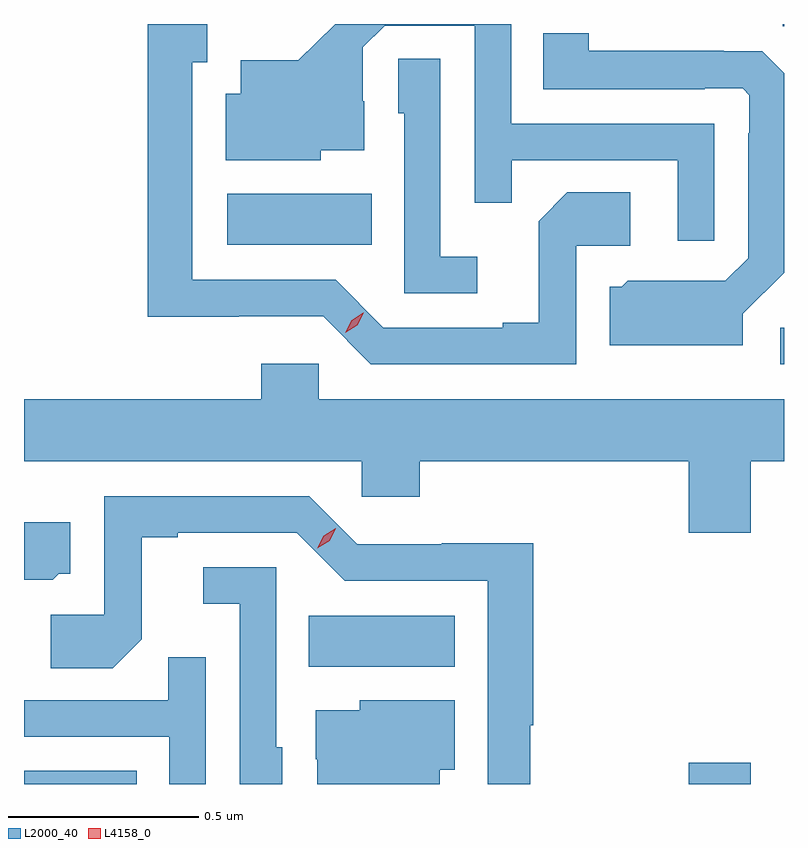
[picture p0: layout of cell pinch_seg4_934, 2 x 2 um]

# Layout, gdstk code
import gdstk
lib = gdstk.Library(unit=1e-6, precision=1e-09)
def R(c, l, rs):  # rectangles x0, y0, x1, y1
    for r in rs: c.add(gdstk.rectangle(r[:2], r[2:], *l))
def P(c, l, *ps):  # polygons
    for p in ps: c.add(gdstk.Polygon(p, *l))
L2000_40 = (2000, 40)
L4158_0 = (4158, 0)

pinch_seg4_934 = lib.new_cell('pinch_seg4_934')
R(pinch_seg4_934, L2000_40, [(690.731,823.943,691.028,823.978), (692.48,823.943,692.644,823.999), (691.48,824.252,691.864,824.386), (692.721,825.048,692.731,825.144), (691.266,825.362,691.646,825.496), (692.728,825.937,692.731,825.943)])
P(pinch_seg4_934, L2000_40, [(692.184,825.36),(692.326,825.36),(692.326,825.5),(692.161,825.5),(692.085,825.424),(692.085,825.157),(691.991,825.157),(691.991,825.144),(691.677,825.144),(691.551,825.27),(691.174,825.27),(691.174,825.843),(691.213,825.843),(691.213,825.943),(691.056,825.943),(691.056,825.173),(691.296,825.173),(691.296,825.174),(691.518,825.174),(691.644,825.048),(692.184,825.048)],
  [(692.547,825.681),(692.013,825.681),(692.013,825.943),(691.55,825.943),(691.453,825.847),(691.301,825.847),(691.301,825.76),(691.262,825.76),(691.262,825.584),(691.512,825.584),(691.512,825.611),(691.627,825.611),(691.627,825.74),(691.623,825.74),(691.623,825.882),(691.68,825.939),(691.917,825.939),(691.917,825.472),(692.015,825.472),(692.015,825.585),(692.451,825.585),(692.451,825.372),(692.547,825.372)],
  [(692.623,825.18),(692.731,825.288),(692.731,825.814),(692.674,825.871),(692.573,825.871),(692.573,825.872),(692.217,825.872),(692.217,825.919),(692.098,825.919),(692.098,825.771),(692.522,825.771),(692.522,825.774),(692.622,825.774),(692.64,825.756),(692.64,825.656),(692.637,825.656),(692.637,825.327),(692.577,825.267),(692.454,825.267),(692.454,825.268),(692.32,825.268),(692.304,825.252),(692.273,825.252),(692.273,825.098),(692.623,825.098)],
  [(691.924,825.331),(691.827,825.331),(691.827,825.851),(691.716,825.851),(691.716,825.708),(691.731,825.708),(691.731,825.234),(691.924,825.234)],
  [(692.644,824.792),(692.731,824.792),(692.731,824.956),(691.506,824.956),(691.506,825.049),(691.355,825.049),(691.355,824.956),(690.731,824.956),(690.731,824.792),(691.62,824.792),(691.62,824.699),(691.772,824.699),(691.772,824.792),(692.48,824.792),(692.48,824.604),(692.644,824.604)],
  [(692.063,824.097),(692.071,824.097),(692.071,824.576),(691.83,824.576),(691.83,824.574),(691.608,824.574),(691.482,824.7),(690.942,824.7),(690.942,824.388),(690.801,824.388),(690.801,824.248),(690.965,824.248),(691.041,824.324),(691.041,824.592),(691.135,824.592),(691.135,824.604),(691.449,824.604),(691.575,824.478),(691.952,824.478),(691.952,823.943),(692.063,823.943)],
  [(690.822,824.496),(690.853,824.496),(690.853,824.632),(690.731,824.632),(690.731,824.48),(690.806,824.48)],
  [(691.41,824.04),(691.395,824.04),(691.395,824.514),(691.203,824.514),(691.203,824.417),(691.299,824.417),(691.299,823.943),(691.41,823.943)],
  [(691.209,824.276),(691.111,824.276),(691.111,824.163),(690.731,824.163),(690.731,824.067),(691.113,824.067),(691.113,823.943),(691.209,823.943)],
  [(691.825,823.98),(691.864,823.98),(691.864,824.164),(691.614,824.164),(691.614,824.137),(691.499,824.137),(691.499,824.008),(691.503,824.008),(691.503,823.943),(691.825,823.943)])
P(pinch_seg4_934, L4158_0, [(691.576,825.131),(691.576,825.131),(691.593,825.164),(691.624,825.183),(691.625,825.183),(691.625,825.183),(691.608,825.15),(691.576,825.131)],
  [(691.503,824.563),(691.503,824.564),(691.52,824.596),(691.551,824.616),(691.552,824.616),(691.552,824.616),(691.535,824.583),(691.503,824.563)])

lib.write_gds('pinch_seg4_934.gds')
